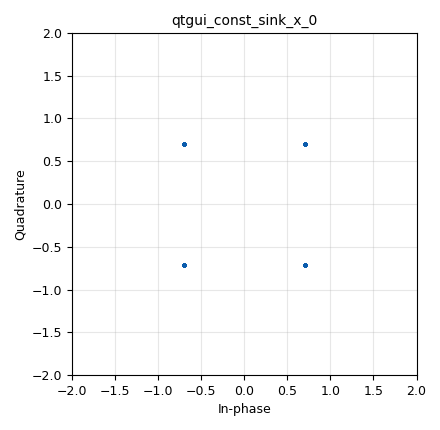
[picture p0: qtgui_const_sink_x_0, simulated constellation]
options:
  parameters:
    author: YASH
    generate_options: qt_gui
    id: error_rate
    output_language: python
    title: Not titled yet
  states: {}

blocks:
- name: cons_point
  id: variable_constellation
  parameters:
    const_points: '[-1-1j, -1+1j, 1+1j, 1-1j]'
    dims: '1'
    normalization: digital.constellation.AMPLITUDE_NORMALIZATION
    precision: '8'
    rot_sym: '4'
    sym_map: '[0, 1, 3, 2]'
    type: calcdist
  states: {}
- name: nois_std
  id: variable_qtgui_range
  parameters:
    start: '0'
    step: '0.01'
    stop: '1'
    value: '0'
  states: {}
- name: samp_rate
  id: variable
  parameters:
    value: '32000'
  states: {}
- name: analog_noise_source_x_0
  id: analog_noise_source_x
  parameters:
    amp: nois_std
    noise_type: analog.GR_GAUSSIAN
    seed: '0'
    type: complex
  states: {}
- name: analog_random_source_x_0
  id: analog_random_source_x
  parameters:
    max: '4'
    min: '0'
    num_samps: '1000'
    repeat: 'True'
    type: byte
  states: {}
- name: blocks_add_xx_0
  id: blocks_add_xx
  parameters:
    type: complex
  states: {}
- name: blocks_int_to_float_0
  id: blocks_int_to_float
  parameters:
    scale: '1'
  states: {}
- name: blocks_throttle2_0
  id: blocks_throttle2
  parameters:
    samples_per_second: samp_rate
    type: complex
  states: {}
- name: digital_constellation_decoder_cb_0
  id: digital_constellation_decoder_cb
  parameters:
    constellation: cons_point
  states: {}
- name: digital_constellation_encoder_bc_0
  id: digital_constellation_encoder_bc
  parameters:
    constellation: cons_point
  states: {}
- name: epy_block_0
  id: epy_block
  parameters:
    _source_code: "\"\"\"\nEmbedded Python Blocks:\n\nEach time this file is saved, GRC will instantiate the first class it finds\nto get ports and parameters of your block. The arguments to __init__  will\nbe the parameters. All of them are required to have default values!\n\"\"\"\n\nimport numpy as np\nfrom gnuradio import gr\n\n\nclass blk(gr.sync_block):  # other base classes are basic_block, decim_block, interp_block\n    \"\"\"Embedded Python Block example - a simple multiply const\"\"\"\n\n    def __init__(self):  # only default arguments here\n        \"\"\"arguments to this function show up as parameters in GRC\"\"\"\n        gr.sync_block.__init__(\n            self,\n            name='Embedded Python Block',   # will show up in GRC\n            in_sig=[np.int8, np.int8],\n            out_sig=[np.int32]\n        )\n        # if an attribute with the same name as a parameter is found,\n        # a callback is registered (properties work, too).\n        # self.example_param = example_param\n\n    def work(self, input_items, output_items):\n        \"\"\"example: multiply with constant\"\"\"\n        output_items[0][:] = (input_items[0] != input_items[1]).astype('int8')\n        return len(output_items[0])\n\n"
  states: {}
- name: qtgui_const_sink_x_0
  id: qtgui_const_sink_x
  parameters:
    grid: 'True'
    size: '1024'
    type: complex
  states: {}
- name: qtgui_histogram_sink_x_0
  id: qtgui_histogram_sink_x
  parameters:
    bins: '100'
    size: '1024'
    type: float
    xmax: '1.5'
    xmin: '-0.5'
  states: {}

connections:
- [analog_noise_source_x_0, '0', blocks_add_xx_0, '1']
- [analog_random_source_x_0, '0', digital_constellation_encoder_bc_0, '0']
- [analog_random_source_x_0, '0', epy_block_0, '1']
- [blocks_add_xx_0, '0', blocks_throttle2_0, '0']
- [blocks_add_xx_0, '0', digital_constellation_decoder_cb_0, '0']
- [blocks_int_to_float_0, '0', qtgui_histogram_sink_x_0, '0']
- [blocks_throttle2_0, '0', qtgui_const_sink_x_0, '0']
- [digital_constellation_decoder_cb_0, '0', epy_block_0, '0']
- [digital_constellation_encoder_bc_0, '0', blocks_add_xx_0, '0']
- [epy_block_0, '0', blocks_int_to_float_0, '0']

metadata:
  file_format: 1
  grc_version: 3.10.7.0
